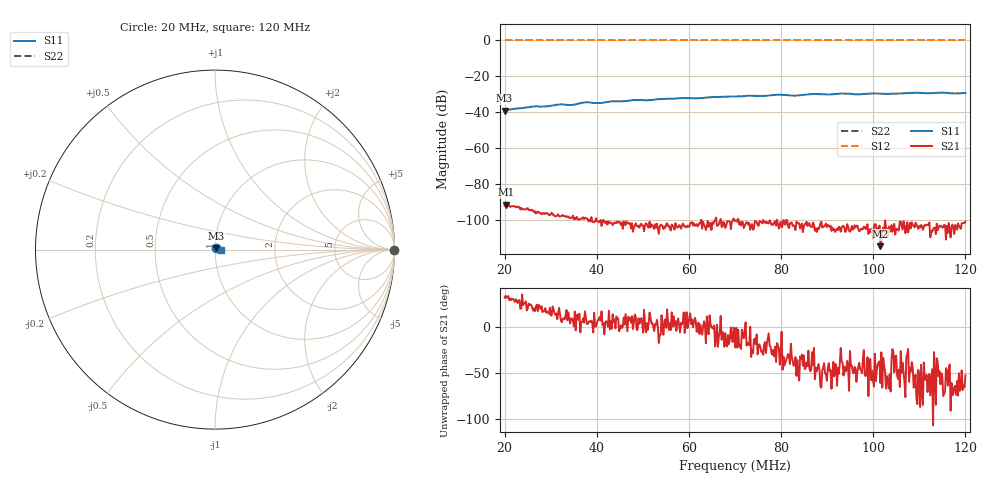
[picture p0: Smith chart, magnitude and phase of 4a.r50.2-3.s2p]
! Anritsu VNA Master:  Model: MS2036C/10/77
! SN:  1601066
! /bd0/18may26.balun/4a.r50.2.s2p
! Existing Calibration Information:
! TYPE:  Current Settings,  Active Cal Settings
! TIME:  05/26/2018 03:25:00 PM,  05/26/2018 02:51:55 PM
! INTERNAL TEMP:  59.8 C,  59.5 C
! # POINTS:  500,  500
! START FREQ:  20.000 MHz,  20.000 MHz
! STOP FREQ:  120.000 MHz,  120.000 MHz
! SOURCE POWER:  High,  High
! IFBW:  50 Hz,  50 Hz
! AVG FACTOR:  1 ,  1
! REF PLANE 1:  0 mm,  0 mm
! REF PLANE 2:  0 mm,  0 mm
! CAL TYPE:  Full S11,  Full S11
! CAL METHOD:  SOLT,  SOLT
! CAL LINE TYPE:  Coax,  Coax
! DUT PORT 1:  K-Conn(M),  K-Conn(M)
! DUT PORT 2:  K-Conn(M),  K-Conn(M)
! CAL STATUS:  OK: Accuracy High,  --
# GHZ S DB R 50.0
! FREQ.GHZ  S11DB  S11A  S21DB  S21A  S12DB  S12A  S22DB  S22A
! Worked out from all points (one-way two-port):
!   500 points, 20 MHz to 120 MHz, reference 50 ohm
!   highest |S21| = -91.40 dB at 20.4 MHz (marker M1); lowest = -114.6 dB at 101.6 MHz (marker M2)
!   lowest |S11| = -39.1 dB at 20 MHz (marker M3), VSWR 1.02, Z = 50.7 + j0.85 ohm
!   |S11| at or under -10 dB: start of sweep to end of sweep
!   |S22| runs from 0.0 to 0.0 dB; largest |S21 - S12| = 1
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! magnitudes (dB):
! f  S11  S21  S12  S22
! 20 MHz  -39.1  -92.0  0.0  0.0
! 20.4 MHz  -38.9  -91.4  0.0  0.0
! 26.61 MHz  -36.8  -95.1  0.0  0.0
! 29.22 MHz  -36.7  -96.3  0.0  0.0
! 31.82 MHz  -35.7  -98.0  0.0  0.0
! 34.83 MHz  -35.8  -97.5  0.0  0.0
! 36.83 MHz  -34.7  -99.2  0.0  0.0
! 37.84 MHz  -34.5  -99.3  0.0  0.0
! 40.64 MHz  -34.9  -101.3  0.0  0.0
! 43.25 MHz  -33.9  -101.6  0.0  0.0
! 51.26 MHz  -33.2  -104.3  0.0  0.0
! 53.47 MHz  -32.7  -107.7  0.0  0.0
! 70.1 MHz  -31.2  -100.2  0.0  0.0
! 73.31 MHz  -30.8  -105.4  0.0  0.0
! 76.31 MHz  -30.9  -101.5  0.0  0.0
! 79.52 MHz  -30.2  -104.8  0.0  0.0
! 83.33 MHz  -30.7  -100.9  0.0  0.0
! 86.73 MHz  -29.9  -103.8  0.0  0.0
! 101.6 MHz  -29.7  -114.6  0.0  0.0
! 103.4 MHz  -29.8  -103.7  0.0  0.0
! 109.4 MHz  -29.2  -102.3  0.0  0.0
! 120 MHz  -29.3  -100.8  0.0  0.0
